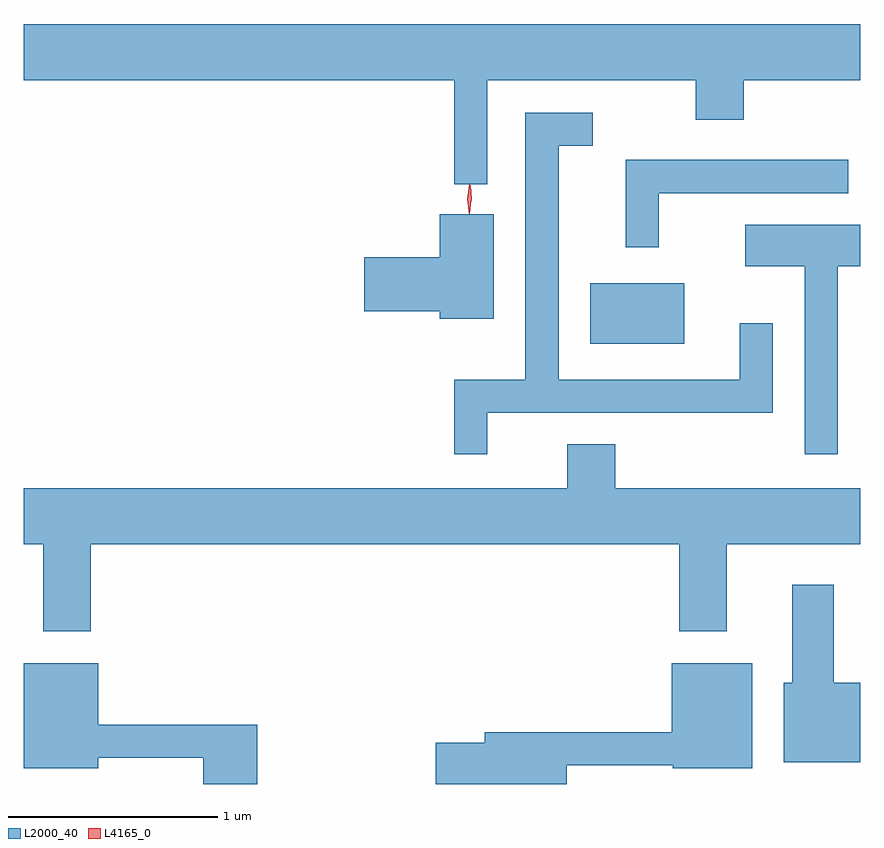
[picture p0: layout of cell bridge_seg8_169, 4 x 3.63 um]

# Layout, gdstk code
import gdstk
lib = gdstk.Library(unit=1e-6, precision=1e-09)
def R(c, l, rs):  # rectangles x0, y0, x1, y1
    for r in rs: c.add(gdstk.rectangle(r[:2], r[2:], *l))
def P(c, l, *ps):  # polygons
    for p in ps: c.add(gdstk.Polygon(p, *l))
L2000_40 = (2000, 40)
L4165_0 = (4165, 0)

bridge_seg8_169 = lib.new_cell('bridge_seg8_169')
R(bridge_seg8_169, L2000_40, [(1428.866,1935.056,1429.314,1935.344)])
P(bridge_seg8_169, L2000_40, [(1428.374,1936.316),(1429.371,1936.316),(1429.371,1936.126),(1429.599,1936.126),(1429.599,1936.316),(1430.157,1936.316),(1430.157,1936.584),(1426.157,1936.584),(1426.157,1936.316),(1428.216,1936.316),(1428.216,1935.818),(1428.374,1935.818)],
  [(1428.374,1934.726),(1429.739,1934.726),(1429.739,1935.153),(1429.581,1935.153),(1429.581,1934.884),(1428.714,1934.884),(1428.714,1936.001),(1428.878,1936.001),(1428.878,1936.159),(1428.556,1936.159),(1428.556,1934.884),(1428.216,1934.884),(1428.216,1934.528),(1428.374,1934.528)],
  [(1429.194,1935.776),(1430.098,1935.776),(1430.098,1935.934),(1429.036,1935.934),(1429.036,1935.518),(1429.194,1935.518)],
  [(1428.404,1935.674),(1428.146,1935.674),(1428.146,1935.469),(1427.786,1935.469),(1427.786,1935.211),(1428.146,1935.211),(1428.146,1935.176),(1428.404,1935.176)],
  [(1430.049,1935.426),(1430.157,1935.426),(1430.157,1935.624),(1429.606,1935.624),(1429.606,1935.426),(1429.891,1935.426),(1429.891,1934.528),(1430.049,1934.528)],
  [(1426.479,1934.096),(1429.291,1934.096),(1429.291,1933.681),(1429.519,1933.681),(1429.519,1934.096),(1430.157,1934.096),(1430.157,1934.364),(1428.984,1934.364),(1428.984,1934.574),(1428.756,1934.574),(1428.756,1934.364),(1426.157,1934.364),(1426.157,1934.096),(1426.251,1934.096),(1426.251,1933.681),(1426.479,1933.681)],
  [(1430.157,1933.434),(1430.029,1933.434),(1430.029,1933.904),(1429.831,1933.904),(1429.831,1933.434),(1429.791,1933.434),(1429.791,1933.056),(1430.157,1933.056)],
  [(1428.754,1933.041),(1429.26,1933.041),(1429.26,1933.026),(1429.639,1933.026),(1429.639,1933.529),(1429.256,1933.529),(1429.256,1933.199),(1428.361,1933.199),(1428.361,1933.149),(1428.126,1933.149),(1428.126,1932.951),(1428.754,1932.951)],
  [(1427.274,1933.234),(1426.514,1933.234),(1426.514,1933.529),(1426.157,1933.529),(1426.157,1933.026),(1426.514,1933.026),(1426.514,1933.076),(1427.016,1933.076),(1427.016,1932.951),(1427.274,1932.951)])
P(bridge_seg8_169, L4165_0, [(1428.288,1935.678),(1428.288,1935.678),(1428.278,1935.746),(1428.288,1935.815),(1428.288,1935.815),(1428.289,1935.815),(1428.298,1935.746),(1428.289,1935.678)],
  [(1428.286,1935.681),(1428.285,1935.682),(1428.28,1935.747),(1428.293,1935.811),(1428.293,1935.812),(1428.294,1935.811),(1428.3,1935.746),(1428.286,1935.682)])

lib.write_gds('bridge_seg8_169.gds')
